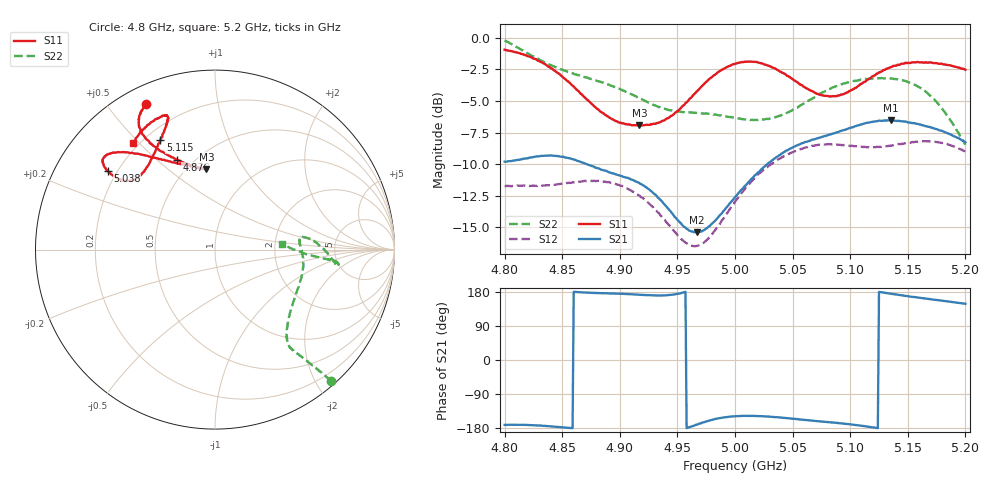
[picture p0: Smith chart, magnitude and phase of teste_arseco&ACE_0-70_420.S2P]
! Network Analyzer HP8722D
! Hewlett-Packard
! Data name: Linha & Wilkinson
! Saver's name: Rodrigo Anjos
! Comments: Teste da utilização de aquisição
! continua pelo VNA HP8722D
! Time and date: 8/5/2025 16:15
!  Frequency  S11  S21  S12  S22
# HZ  S  MA R 50
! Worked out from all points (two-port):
!   401 points, 4.8 GHz to 5.2 GHz, reference 50 ohm
!   highest |S21| = -6.52 dB at 5.135 GHz (marker M1); lowest = -15.4 dB at 4.967 GHz (marker M2)
!   |S21| within 3 dB of the highest: 4.821 GHz to 4.855 GHz (34.42 MHz wide, 0.711 % of centre); 5.035 GHz to end of sweep
!   lowest |S11| = -6.9 dB at 4.917 GHz (marker M3), VSWR 2.63, Z = 30.8 + j34.5 ohm
!   |S11| at or under -10 dB: nowhere
!   |S22| runs from -8.5 to -0.2 dB; largest |S21 - S12| = 0.83
!   S11 on the Smith chart (normalised r, x): 4.8 GHz: 0.08, +0.63; 4.876 GHz: 0.41, +0.58; 5.038 GHz: 0.16, +0.32; 5.115 GHz: 0.26, +0.59; 5.2 GHz: 0.18, +0.48
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4.8e9  0.8965 115.3  0.3234 -171.2  0.259 -86.4  0.9757 -48.4
4.834e9  0.791 121.8  0.3413 -173.7  0.2603 -77.5  0.8024 -50.5
4.849e9  0.708 121.4  0.3382 -177.6  0.2643 -72.7  0.7497 -51.3
4.867e9  0.5968 117.0  0.3216 178.3  0.2701 -68.5  0.7052 -52.3
4.876e9  0.5453 113.1  0.3102 177.1  0.2717 -67.7  0.6863 -52.7
4.899e9  0.4626 100.7  0.2856 174.9  0.2619 -68.2  0.63 -50.5
4.917e9  0.4497 96.0  0.2661 172.2  0.2371 -70.1  0.5758 -45.4
4.934e9  0.4616 100.8  0.2314 170.2  0.202 -70.4  0.5314 -36.3
4.955e9  0.5392 115.6  0.18 177.9  0.1573 -60.4  0.5081 -22.4
4.967e9  0.6143 123.5  0.1697 -170.3  0.1501 -47.4  0.5038 -15.5
4.978e9  0.688 129.0  0.1797 -159.6  0.1632 -35.1  0.4997 -9.9
5e9  0.7886 137.1  0.2339 -148.6  0.2246 -21.9  0.4818 -0.3
5.019e9  0.8021 141.5  0.2899 -147.9  0.2838 -19.8  0.4726 5.7
5.038e9  0.7406 143.9  0.342 -151.2  0.3312 -20.1  0.4905 8.1
5.067e9  0.615 141.3  0.3951 -160.0  0.3737 -22.5  0.5738 3.1
5.089e9  0.5906 131.6  0.4229 -166.3  0.3774 -25.7  0.645 -3.8
5.115e9  0.6818 116.5  0.4613 -175.7  0.3685 -28.5  0.6879 -7.2
5.134e9  0.7605 110.4  0.4705 175.6  0.3734 -30.7  0.6903 -6.6
5.135e9  0.7656 110.3  0.4723 175.0  0.3745 -30.7  0.6896 -6.4
5.149e9  0.7938 109.9  0.465 168.7  0.3839 -33.6  0.672 -5.5
5.168e9  0.7973 114.2  0.4441 160.9  0.3893 -39.4  0.5972 -4.5
5.2e9  0.7466 127.6  0.3856 148.3  0.3549 -48.8  0.377 4.5
